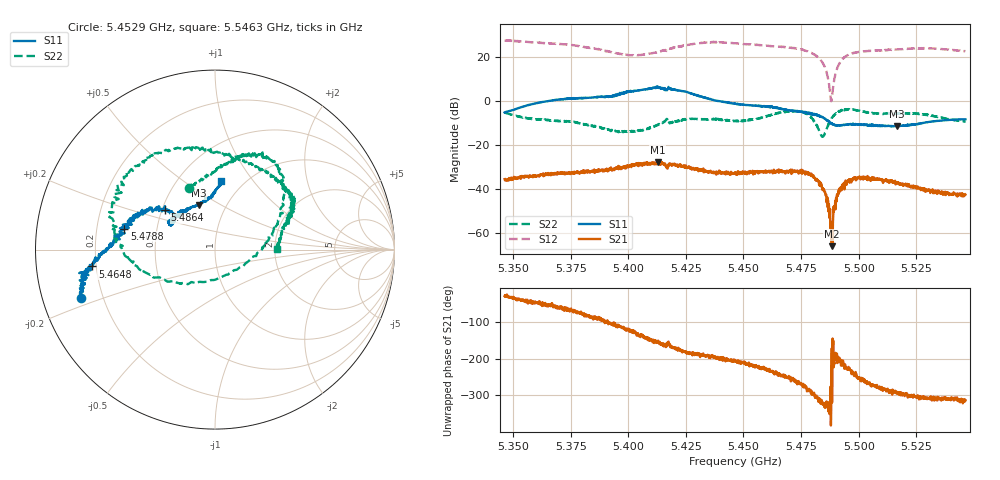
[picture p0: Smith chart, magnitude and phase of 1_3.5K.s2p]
# Hz  S  DB  R  50
! ADVANTEST Corporation R3860A
! Date: Wed Apr 11 19:51:30 2007
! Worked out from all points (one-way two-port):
!   1601 points, 5.3463 GHz to 5.5463 GHz, reference 50 ohm
!   highest |S21| = -27.73 dB at 5.4127 GHz (marker M1); lowest = -66.2 dB at 5.4883 GHz (marker M2)
!   lowest |S11| = -11.6 dB at 5.5166 GHz (marker M3), VSWR 1.72, Z = 37.2 + j19.7 ohm
!   |S11| at or under -10 dB: 5.4877 GHz to 5.528 GHz (40.25 MHz wide, 0.731 % of centre)
!   |S22| runs from -16.3 to -3.7 dB; largest |S21 - S12| = 24
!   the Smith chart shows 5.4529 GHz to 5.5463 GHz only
!   S11 on the Smith chart (normalised r, x): 5.4529 GHz: 0.12, -0.17; 5.4648 GHz: 0.18, -0.07; 5.4788 GHz: 0.32, +0.10; 5.4864 GHz: 0.52, +0.26; 5.5463 GHz: 0.79, +0.71
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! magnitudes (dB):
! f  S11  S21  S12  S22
! 5.3463 GHz  -5.2  -35.6  27.5  -5.2
! 5.3797 GHz  1.4  -32.0  24.8  -10.4
! 5.3966 GHz  2.9  -30.9  21.5  -13.8
! 5.4127 GHz  6.2  -27.7  22.2  -10.9
! 5.4131 GHz  6.2  -28.3  22.4  -10.8
! 5.4262 GHz  3.9  -30.4  25.6  -8.1
! 5.4463 GHz  -1.3  -33.0  26.3  -9.0
! 5.4529 GHz  -2.0  -31.9  25.8  -8.6
! 5.4648 GHz  -3.2  -31.6  24.8  -5.6
! 5.4737 GHz  -4.6  -32.1  23.7  -4.7
! 5.4788 GHz  -5.7  -33.0  22.2  -6.8
! 5.4797 GHz  -5.5  -34.1  21.7  -8.0
! 5.4841 GHz  -7.4  -39.3  17.9  -16.2
! 5.4864 GHz  -9.0  -44.0  11.6  -11.9
! 5.4877 GHz  -9.9  -58.0  2.6  -9.0
! 5.4883 GHz  -10.3  -66.2  1.1  -7.6
! 5.4911 GHz  -11.1  -42.0  15.9  -5.1
! 5.4949 GHz  -10.8  -37.1  20.7  -3.9
! 5.5008 GHz  -10.9  -35.7  22.5  -4.7
! 5.5131 GHz  -11.4  -36.8  23.4  -5.7
! 5.5166 GHz  -11.6  -37.0  23.5  -5.6
! 5.5463 GHz  -8.3  -42.6  22.7  -9.2
